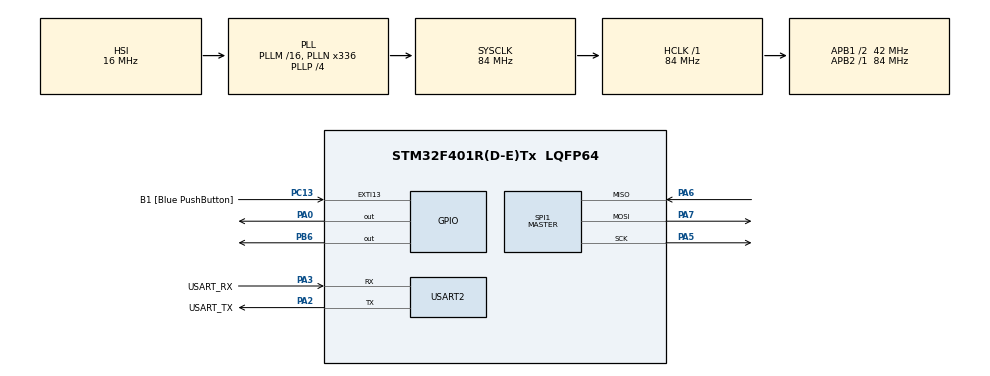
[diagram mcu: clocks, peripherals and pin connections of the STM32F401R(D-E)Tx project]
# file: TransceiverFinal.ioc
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Mcu.Family=STM32F4
Mcu.Name=STM32F401R(D-E)Tx
Mcu.Package=LQFP64
NVIC.PriorityGroup=NVIC_PRIORITYGROUP_4
PA0-WKUP.GPIO_PuPd=GPIO_PULLUP
PA0-WKUP.PinState=GPIO_PIN_RESET
PA0-WKUP.Signal=GPIO_Output
PA13.GPIO_Label=TMS
PA13.Mode=Trace_Asynchronous_SW
PA13.Signal=SYS_JTMS-SWDIO
PA14.GPIO_Label=TCK
PA14.Mode=Trace_Asynchronous_SW
PA14.Signal=SYS_JTCK-SWCLK
PA2.GPIO_Label=USART_TX
PA2.GPIO_Mode=GPIO_MODE_AF_PP
PA2.GPIO_PuPd=GPIO_NOPULL
PA2.GPIO_Speed=GPIO_SPEED_FREQ_LOW
PA2.Mode=Asynchronous
PA2.Signal=USART2_TX
PA3.GPIO_Label=USART_RX
PA3.GPIO_Mode=GPIO_MODE_AF_PP
PA3.GPIO_PuPd=GPIO_NOPULL
PA3.GPIO_Speed=GPIO_SPEED_FREQ_LOW
PA3.Mode=Asynchronous
PA3.Signal=USART2_RX
PA5.Mode=Full_Duplex_Master
PA5.Signal=SPI1_SCK
PA6.Mode=Full_Duplex_Master
PA6.Signal=SPI1_MISO
PA7.Mode=Full_Duplex_Master
PA7.Signal=SPI1_MOSI
PB3.GPIO_Label=SWO
PB3.Mode=Trace_Asynchronous_SW
PB3.Signal=SYS_JTDO-SWO
PB6.Signal=GPIO_Output
PC13-ANTI_TAMP.GPIO_Label=B1 [Blue PushButton]
PC13-ANTI_TAMP.GPIO_ModeDefaultEXTI=GPIO_MODE_IT_FALLING
PC13-ANTI_TAMP.GPIO_PuPd=GPIO_NOPULL
PC13-ANTI_TAMP.Signal=GPXTI13
PC14-OSC32_IN.Mode=LSE-External-Oscillator
PC14-OSC32_IN.Signal=RCC_OSC32_IN
PC15-OSC32_OUT.Mode=LSE-External-Oscillator
PC15-OSC32_OUT.Signal=RCC_OSC32_OUT
PH0\ -\ OSC_IN.Mode=HSE-External-Clock-Source
PH0\ -\ OSC_IN.Signal=RCC_OSC_IN
PH1\ -\ OSC_OUT.Mode=HSE-External-Clock-Source
PH1\ -\ OSC_OUT.Signal=RCC_OSC_OUT
ProjectManager.HeapSize=0x200
ProjectManager.StackSize=0x400
ProjectManager.TargetToolchain=STM32CubeIDE
RCC.48MHZClocksFreq_Value=48000000
RCC.AHBFreq_Value=84000000
RCC.APB1CLKDivider=RCC_HCLK_DIV2
RCC.APB1Freq_Value=42000000
RCC.APB1TimFreq_Value=84000000
RCC.APB2Freq_Value=84000000
RCC.APB2TimFreq_Value=84000000
RCC.CortexFreq_Value=84000000
RCC.HCLKFreq_Value=84000000
RCC.HSE_VALUE=8000000
RCC.HSI_VALUE=16000000
RCC.PLLN=336
RCC.PLLP=RCC_PLLP_DIV4
RCC.PLLQ=7
RCC.SYSCLKFreq_VALUE=84000000
RCC.SYSCLKSource=RCC_SYSCLKSOURCE_PLLCLK
RCC.VCOOutputFreq_Value=336000000
SPI1.BaudRatePrescaler=SPI_BAUDRATEPRESCALER_16
SPI1.Direction=SPI_DIRECTION_2LINES
SPI1.Mode=SPI_MODE_MASTER
SPI1.VirtualType=VM_MASTER
USART2.VirtualMode=VM_ASYNC
board=NUCLEO-F401RE

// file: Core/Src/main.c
/* USER CODE BEGIN Header */
/**
  ******************************************************************************
  * @file           : main.c
  * @brief          : Main program body
  ******************************************************************************
  * @attention
  *
  * Copyright (c) 2026 STMicroelectronics.
  * All rights reserved.
  *
  * This software is licensed under terms that can be found in the LICENSE file
  * in the root directory of this software component.
  * If no LICENSE file comes with this software, it is provided AS-IS.
  *
  ******************************************************************************
  */
/* USER CODE END Header */
#include "main.h"

/* USER CODE BEGIN Includes */
#include "lora_sx1276.h"
#include <stdio.h>
#include <string.h>

/* USER CODE END Includes */

/* USER CODE BEGIN PD */
#define numBytes 57
/* USER CODE END PD */

SPI_HandleTypeDef hspi1;

UART_HandleTypeDef huart2;

void SystemClock_Config(void);
static void MX_GPIO_Init(void);
static void MX_SPI1_Init(void);
static void MX_USART2_UART_Init(void);

/* USER CODE BEGIN 0 */
int __io_putchar(int ch)
{
    HAL_UART_Transmit(&huart2, (uint8_t*)&ch, 1, HAL_MAX_DELAY);
    return ch;
}

/* USER CODE END 0 */

int main(void)
{

  /* MCU Configuration--------------------------------------------------------*/

  /* Reset of all peripherals, Initializes the Flash interface and the Systick. */
  HAL_Init();

  /* Configure the system clock */
  SystemClock_Config();

  /* Initialize all configured peripherals */
  MX_GPIO_Init();
  MX_SPI1_Init();
  MX_USART2_UART_Init();
  /* USER CODE BEGIN 2 */
  lora_sx1276 lora;

  // reset chip
  HAL_GPIO_WritePin(GPIOA, GPIO_PIN_0, GPIO_PIN_RESET);
  HAL_Delay(.1);
  HAL_GPIO_WritePin(GPIOA, GPIO_PIN_0, GPIO_PIN_SET);
  HAL_Delay(5);

  // initialize lora chip
  uint8_t res = lora_init(&lora, &hspi1, GPIOB, GPIO_PIN_6, LORA_BASE_FREQUENCY_US);

  if (res != LORA_OK) {
//      printf("LoRa init failed\r\n");
  } else {
      uint8_t ver = lora_version(&lora);
//      printf("LoRa Version: 0x%02X (%u)\r\n", ver, ver);
  }
  // Put LoRa modem into continuous receive mode

  // states that the stm will be switching from
  typedef enum {
    STATE_WAIT_FOR_UART,
    STATE_HANDSHAKE_TX,
    STATE_NORMAL_OP
  } SystemState_t;

  // start at beginning
  SystemState_t current_state = STATE_WAIT_FOR_UART;
  char start_cmd[6];

  char active_cmd[6] = {0};
  uint8_t active_cmd_len = 0;

  /* USER CODE END 2 */

  /* Infinite loop */
  /* USER CODE BEGIN WHILE */
  while (1)
  {
	  switch (current_state) {

	  // this is before we want the stm to send the start command to the pi
	  case STATE_WAIT_FOR_UART:
		  // Non-blocking or short-timeout UART check
		  if (HAL_UART_Receive(&huart2, (uint8_t*)start_cmd, 5, 100) == HAL_OK) {
			  start_cmd[5] = '\0';
			  if (strcmp(start_cmd, "START") == 0) {
				  printf("UART Command Received. Initiating START Handshake...\r\n");
				  strcpy(active_cmd, "START");
				  active_cmd_len = 5;
				  current_state = STATE_HANDSHAKE_TX;
			  }
			  else if (strcmp(start_cmd, "TESTS") == 0) {
				  printf("UART Command Received. Initiating TEST Handshake...\r\n");
				  strcpy(active_cmd, "TEST");
				  active_cmd_len = 4;
				  current_state = STATE_HANDSHAKE_TX;
			  }
		  }
		  break;

	  // after it gets a command to start the pi, it does this
	  case STATE_HANDSHAKE_TX:
		  // send START to pi, and wait to receive
		  if (lora_send_packet_blocking(&lora, (uint8_t*)active_cmd, active_cmd_len, 2000) == LORA_OK) {
			  printf("Handshake (%s) sent! Waiting for ACK...\r\n", active_cmd);

	          lora_mode_standby(&lora);
	          HAL_Delay(10);
	          lora_clear_interrupt_rx_all(&lora);
	          lora_mode_receive_continuous(&lora);

	          uint8_t ack_buffer[10] = {0}; // Initialize with zeros to help with printing
	          uint8_t lora_res_code;
	          uint8_t ack_len = lora_receive_packet_blocking(&lora, ack_buffer, sizeof(ack_buffer), 1500, &lora_res_code);

	          // check that we receive something and didn't just time out
	          if (lora_res_code == LORA_OK && ack_len >= 3) {
	        	  // compare what we receive to the ACK
	              if (memcmp(ack_buffer, "ACK", 3) == 0) {
	                  printf("ACK received! Starting normal routine.\r\n");
	                  current_state = STATE_NORMAL_OP;
	              }
	              else if (memcmp(ack_buffer, "TEST", 4) == 0) {
	            	  printf("TEST received!\r\n");
	            	  printf("Retry please\r\n");
	            	  current_state = STATE_WAIT_FOR_UART;
	              }
	              // if we receive something but it's wrong, print it out so we know what's wrong
	              else {
	                  printf("Received unknown packet: %.*s\r\n", ack_len, (char*)ack_buffer);
	                  printf("Unknown: ");
	                  for(int i=0; i<ack_len; i++) {
	                      printf("%02X ", ack_buffer[i]);
	                  }
	                  printf("\r\n");
	                  printf("Starting normal routine.\r\n");
	                  current_state = STATE_NORMAL_OP;
	              }
	          } else {
	              printf("Handshake timeout or error code: %d\r\n", lora_res_code);
	              printf("Retry please\r\n");
	              // Optional: for debugging, proceed anyway
	              current_state = STATE_WAIT_FOR_UART;
	          }
	      }
	      break;

	  // After receiving the ACK from the pi, get ready to receive data normally
	  case STATE_NORMAL_OP:
	  {
		  // Send packet can be as simple as
//		  uint8_t res = lora_send_packet(&lora, (uint8_t *)"test", 4);
//		  if (res != LORA_OK) {
//		    // Send failed
//		  }
//		  HAL_Delay(1000);

		  uint8_t res;

		  uint8_t rx_payload[numBytes];

		  lora_mode_standby(&lora);
		  HAL_Delay(10);
		  lora_clear_interrupt_rx_all(&lora);
		  lora_mode_receive_continuous(&lora);

		  uint8_t len = lora_receive_packet_blocking(&lora, rx_payload, numBytes, 10000, &res);
		  if (res == LORA_OK && len > 0) {
			  // 3. Create the clean transmission buffer (Data + RSSI + SNR)
			  uint8_t tx_buffer[numBytes + 2];

			  // 4. Safely copy ONLY the actual bytes received to the front of our tx_buffer
			  memcpy(tx_buffer, rx_payload, len);

			  // 5. Append RSSI and SNR precisely where the actual data ends
			  tx_buffer[len]     = lora_packet_rssi(&lora);
			  tx_buffer[len + 1] = lora_packet_snr(&lora);

			  // 6. Transmit the complete packet over UART
			  // Total size is the data length + 2 bytes of metadata
			  HAL_UART_Transmit(&huart2,
					  tx_buffer,
					  len + 2,
					  100);
		  }
	  }
	  break;
  }

    /* USER CODE END WHILE */

  }
}

void SystemClock_Config(void)
{
  RCC_OscInitTypeDef RCC_OscInitStruct = {0};
  RCC_ClkInitTypeDef RCC_ClkInitStruct = {0};

  /** Configure the main internal regulator output voltage
  */
  __HAL_RCC_PWR_CLK_ENABLE();
  __HAL_PWR_VOLTAGESCALING_CONFIG(PWR_REGULATOR_VOLTAGE_SCALE2);

  /** Initializes the RCC Oscillators according to the specified parameters
  * in the RCC_OscInitTypeDef structure.
  */
  RCC_OscInitStruct.OscillatorType = RCC_OSCILLATORTYPE_HSI;
  RCC_OscInitStruct.HSIState = RCC_HSI_ON;
  RCC_OscInitStruct.HSICalibrationValue = RCC_HSICALIBRATION_DEFAULT;
  RCC_OscInitStruct.PLL.PLLState = RCC_PLL_ON;
  RCC_OscInitStruct.PLL.PLLSource = RCC_PLLSOURCE_HSI;
  RCC_OscInitStruct.PLL.PLLM = 16;
  RCC_OscInitStruct.PLL.PLLN = 336;
  RCC_OscInitStruct.PLL.PLLP = RCC_PLLP_DIV4;
  RCC_OscInitStruct.PLL.PLLQ = 7;
  if (HAL_RCC_OscConfig(&RCC_OscInitStruct) != HAL_OK)
  {
    Error_Handler();
  }

  /** Initializes the CPU, AHB and APB buses clocks
  */
  RCC_ClkInitStruct.ClockType = RCC_CLOCKTYPE_HCLK|RCC_CLOCKTYPE_SYSCLK
                              |RCC_CLOCKTYPE_PCLK1|RCC_CLOCKTYPE_PCLK2;
  RCC_ClkInitStruct.SYSCLKSource = RCC_SYSCLKSOURCE_PLLCLK;
  RCC_ClkInitStruct.AHBCLKDivider = RCC_SYSCLK_DIV1;
  RCC_ClkInitStruct.APB1CLKDivider = RCC_HCLK_DIV2;
  RCC_ClkInitStruct.APB2CLKDivider = RCC_HCLK_DIV1;

  if (HAL_RCC_ClockConfig(&RCC_ClkInitStruct, FLASH_LATENCY_2) != HAL_OK)
  {
    Error_Handler();
  }
}

static void MX_SPI1_Init(void)
{

  /* SPI1 parameter configuration*/
  hspi1.Instance = SPI1;
  hspi1.Init.Mode = SPI_MODE_MASTER;
  hspi1.Init.Direction = SPI_DIRECTION_2LINES;
  hspi1.Init.DataSize = SPI_DATASIZE_8BIT;
  hspi1.Init.CLKPolarity = SPI_POLARITY_LOW;
  hspi1.Init.CLKPhase = SPI_PHASE_1EDGE;
  hspi1.Init.NSS = SPI_NSS_SOFT;
  hspi1.Init.BaudRatePrescaler = SPI_BAUDRATEPRESCALER_16;
  hspi1.Init.FirstBit = SPI_FIRSTBIT_MSB;
  hspi1.Init.TIMode = SPI_TIMODE_DISABLE;
  hspi1.Init.CRCCalculation = SPI_CRCCALCULATION_DISABLE;
  hspi1.Init.CRCPolynomial = 10;
  if (HAL_SPI_Init(&hspi1) != HAL_OK)
  {
    Error_Handler();
  }

}

static void MX_USART2_UART_Init(void)
{

  huart2.Instance = USART2;
  huart2.Init.BaudRate = 115200;
  huart2.Init.WordLength = UART_WORDLENGTH_8B;
  huart2.Init.StopBits = UART_STOPBITS_1;
  huart2.Init.Parity = UART_PARITY_NONE;
  huart2.Init.Mode = UART_MODE_TX_RX;
  huart2.Init.HwFlowCtl = UART_HWCONTROL_NONE;
  huart2.Init.OverSampling = UART_OVERSAMPLING_16;
  if (HAL_UART_Init(&huart2) != HAL_OK)
  {
    Error_Handler();
  }

}

static void MX_GPIO_Init(void)
{
  GPIO_InitTypeDef GPIO_InitStruct = {0};

  /* GPIO Ports Clock Enable */
  __HAL_RCC_GPIOC_CLK_ENABLE();
  __HAL_RCC_GPIOH_CLK_ENABLE();
  __HAL_RCC_GPIOA_CLK_ENABLE();
  __HAL_RCC_GPIOB_CLK_ENABLE();

  /*Configure GPIO pin Output Level */
  HAL_GPIO_WritePin(GPIOA, GPIO_PIN_0, GPIO_PIN_RESET);

  /*Configure GPIO pin Output Level */
  HAL_GPIO_WritePin(GPIOB, GPIO_PIN_6, GPIO_PIN_RESET);

  /*Configure GPIO pin : B1_Pin */
  GPIO_InitStruct.Pin = B1_Pin;
  GPIO_InitStruct.Mode = GPIO_MODE_IT_FALLING;
  GPIO_InitStruct.Pull = GPIO_NOPULL;
  HAL_GPIO_Init(B1_GPIO_Port, &GPIO_InitStruct);

  /*Configure GPIO pin : PA0 */
  GPIO_InitStruct.Pin = GPIO_PIN_0;
  GPIO_InitStruct.Mode = GPIO_MODE_OUTPUT_PP;
  GPIO_InitStruct.Pull = GPIO_PULLUP;
  GPIO_InitStruct.Speed = GPIO_SPEED_FREQ_LOW;
  HAL_GPIO_Init(GPIOA, &GPIO_InitStruct);

  /*Configure GPIO pin : PB6 */
  GPIO_InitStruct.Pin = GPIO_PIN_6;
  GPIO_InitStruct.Mode = GPIO_MODE_OUTPUT_PP;
  GPIO_InitStruct.Pull = GPIO_NOPULL;
  GPIO_InitStruct.Speed = GPIO_SPEED_FREQ_LOW;
  HAL_GPIO_Init(GPIOB, &GPIO_InitStruct);

}

void Error_Handler(void)
{
  __disable_irq();
  while (1)
  {
  }
}
